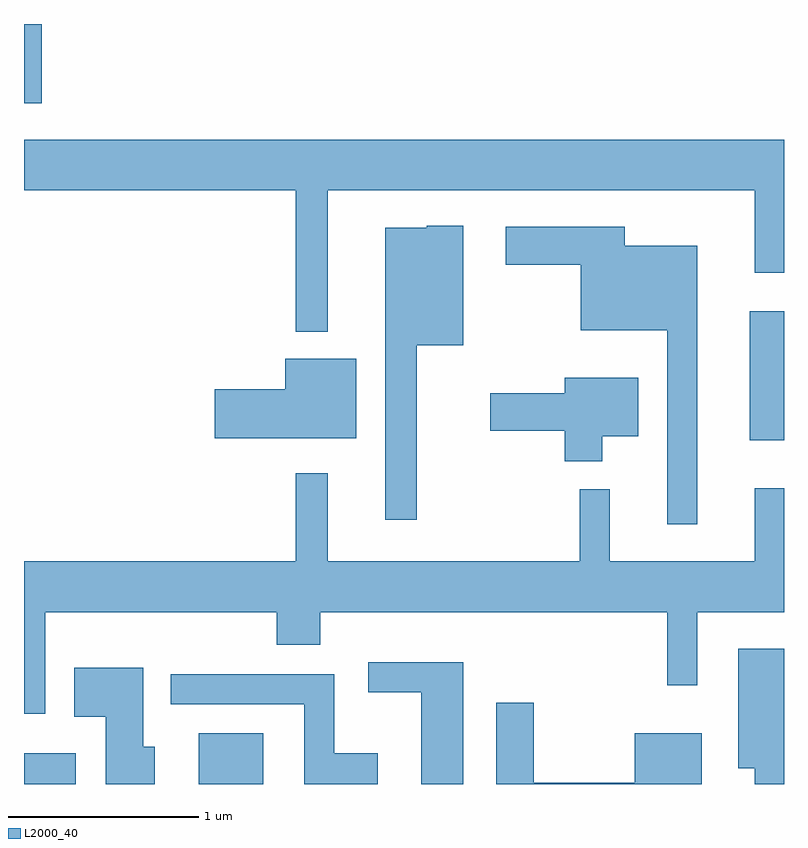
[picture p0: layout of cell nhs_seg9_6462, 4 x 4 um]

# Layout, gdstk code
import gdstk
lib = gdstk.Library(unit=1e-6, precision=1e-09)
def R(c, l, rs):  # rectangles x0, y0, x1, y1
    for r in rs: c.add(gdstk.rectangle(r[:2], r[2:], *l))
def P(c, l, *ps):  # polygons
    for p in ps: c.add(gdstk.Polygon(p, *l))
L2000_40 = (2000, 40)

nhs_seg9_6462 = lib.new_cell('nhs_seg9_6462')
R(nhs_seg9_6462, L2000_40, [(375.611,2026.432,375.884,2026.594), (376.531,2026.432,376.869,2026.699), (379.431,2028.241,379.611,2028.919), (375.611,2030.016,375.704,2030.432)])
P(nhs_seg9_6462, L2000_40, [(377.209,2029.556),(379.456,2029.556),(379.456,2029.123),(379.611,2029.123),(379.611,2029.824),(375.611,2029.824),(375.611,2029.556),(377.041,2029.556),(377.041,2028.813),(377.209,2028.813)],
  [(377.679,2028.741),(377.924,2028.741),(377.924,2029.369),(377.73,2029.369),(377.73,2029.359),(377.511,2029.359),(377.511,2027.823),(377.679,2027.823)],
  [(379.154,2029.264),(378.774,2029.264),(378.774,2029.364),(378.146,2029.364),(378.146,2029.166),(378.541,2029.166),(378.541,2028.821),(378.996,2028.821),(378.996,2027.798),(379.154,2027.798)],
  [(377.359,2028.669),(376.986,2028.669),(376.986,2028.509),(376.616,2028.509),(376.616,2028.251),(377.359,2028.251)],
  [(378.654,2028.261),(378.844,2028.261),(378.844,2028.569),(378.456,2028.569),(378.456,2028.489),(378.066,2028.489),(378.066,2028.291),(378.456,2028.291),(378.456,2028.131),(378.654,2028.131)],
  [(378.694,2027.983),(378.536,2027.983),(378.536,2027.604),(377.209,2027.604),(377.209,2028.068),(377.041,2028.068),(377.041,2027.604),(375.611,2027.604),(375.611,2026.803),(375.724,2026.803),(375.724,2027.336),(376.941,2027.336),(376.941,2027.166),(377.169,2027.166),(377.169,2027.336),(378.996,2027.336),(378.996,2026.953),(379.154,2026.953),(379.154,2027.336),(379.611,2027.336),(379.611,2027.988),(379.456,2027.988),(379.456,2027.604),(378.694,2027.604)],
  [(379.611,2027.144),(379.371,2027.144),(379.371,2026.516),(379.456,2026.516),(379.456,2026.432),(379.611,2026.432)],
  [(377.924,2027.074),(377.423,2027.074),(377.423,2026.916),(377.701,2026.916),(377.701,2026.432),(377.924,2026.432)],
  [(376.299,2026.629),(376.239,2026.629),(376.239,2027.044),(375.876,2027.044),(375.876,2026.786),(376.041,2026.786),(376.041,2026.432),(376.299,2026.432)],
  [(377.474,2026.594),(377.244,2026.594),(377.244,2027.009),(376.383,2027.009),(376.383,2026.851),(377.086,2026.851),(377.086,2026.432),(377.474,2026.432)],
  [(379.179,2026.699),(378.826,2026.699),(378.826,2026.439),(378.294,2026.439),(378.294,2026.859),(378.096,2026.859),(378.096,2026.432),(379.179,2026.432)])

lib.write_gds('nhs_seg9_6462.gds')
